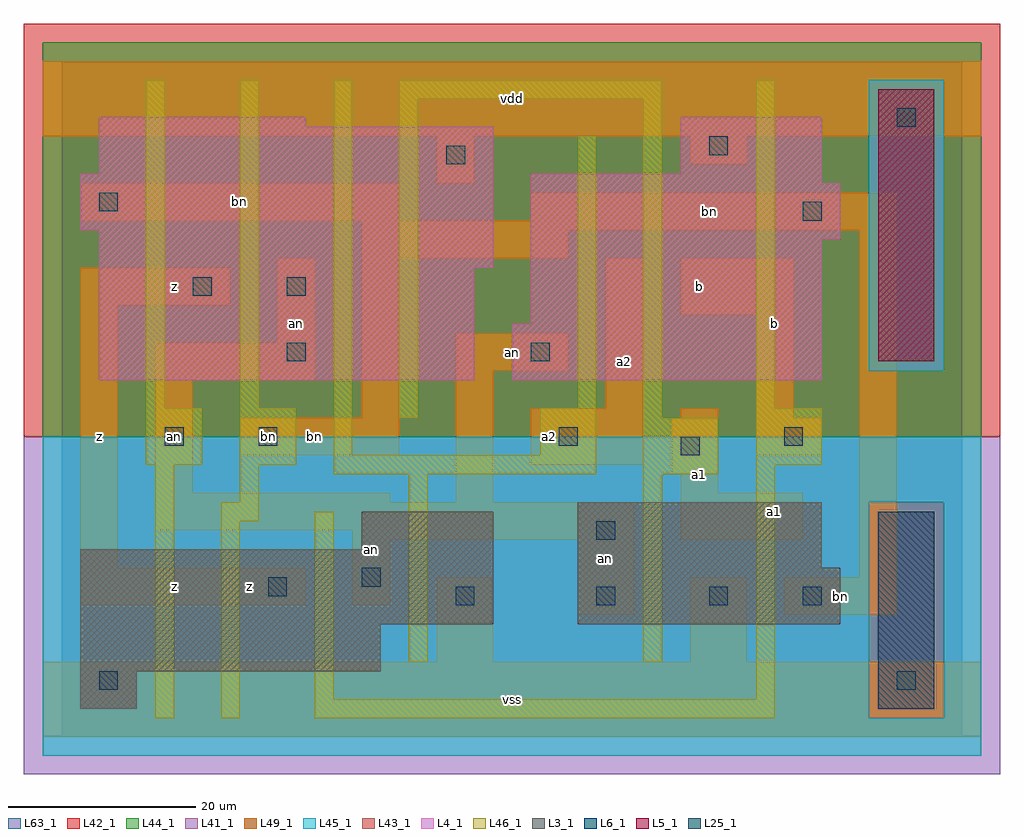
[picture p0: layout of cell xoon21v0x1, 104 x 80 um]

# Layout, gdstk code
import gdstk
lib = gdstk.Library(unit=1e-6, precision=1e-09)
def R(c, l, rs):  # rectangles x0, y0, x1, y1
    for r in rs: c.add(gdstk.rectangle(r[:2], r[2:], *l))
L3_1 = (3, 1)
L4_1 = (4, 1)
L5_1 = (5, 1)
L6_1 = (6, 1)
L25_1 = (25, 1)
L41_1 = (41, 1)
L42_1 = (42, 1)
L43_1 = (43, 1)
L44_1 = (44, 1)
L45_1 = (45, 1)
L46_1 = (46, 1)
L49_1 = (49, 1)
L63_1 = (63, 1)

xoon21v0x1 = lib.new_cell('xoon21v0x1')
R(xoon21v0x1, L3_1, [(2,3,8,7), (2,7,34,12), (2,12,46,20), (55,12,83,18), (55,18,81,25), (32,20,46,24)])
R(xoon21v0x1, L4_1, [(4,38,44,50), (48,38,81,44), (50,44,81,53), (4,50,46,54), (50,53,83,59), (2,54,46,60), (50,59,81,60), (4,60,46,65), (66,60,81,66), (4,65,26,66)])
R(xoon21v0x1, L5_1, [(87,40,93,69)])
R(xoon21v0x1, L6_1, [(87,3,93,24), (87,3,93,24)])
R(xoon21v0x1, L25_1, [(4,5,6,7), (89,5,91,7), (42,14,44,16), (57,14,59,16), (69,14,71,16), (79,14,81,16), (22,15,24,17), (32,16,34,18), (57,21,59,23), (66,30,68,32), (11,31,13,33), (21,31,23,33), (53,31,55,33), (77,31,79,33), (24,40,26,42), (50,40,52,42), (14,47,16,49), (24,47,26,49), (79,55,81,57), (4,56,6,58), (41,61,43,63), (69,62,71,64), (89,65,91,67)])
R(xoon21v0x1, L41_1, [(-4,-4,100,32)])
R(xoon21v0x1, L42_1, [(-4,32,100,76)])
R(xoon21v0x1, L43_1, [(2,3,8,7), (87,3,93,24), (2,7,34,12), (2,12,46,20), (55,12,83,18), (55,18,81,25), (32,20,46,24), (4,38,44,50), (48,38,81,44), (87,40,93,69), (50,44,81,53), (4,50,46,54), (50,53,83,59), (2,54,46,60), (50,59,81,60), (4,60,46,65), (66,60,81,66), (4,65,26,66)])
R(xoon21v0x1, L44_1, [(86,2,94,25), (-2,32,98,39), (-2,39,86,70), (94,39,98,70), (-2,70,98,74)])
R(xoon21v0x1, L45_1, [(-2,-2,98,2), (-2,2,86,25), (94,2,98,25), (-2,25,98,32), (86,39,94,70)])
R(xoon21v0x1, L46_1, [(10,2,12,29), (17,2,19,23), (27,2,76,4), (27,4,29,24), (74,4,76,29), (37,8,39,28), (62,8,64,28), (17,23,21,25), (19,25,21,29), (29,28,57,30), (62,28,70,34), (9,29,15,35), (19,29,25,35), (74,29,81,35), (29,30,31,70), (51,30,57,35), (36,34,38,68), (62,34,64,68), (9,35,11,70), (19,35,21,70), (55,35,57,64), (74,35,76,70), (36,68,64,70)])
R(xoon21v0x1, L49_1, [(-2,0,98,8), (40,8,46,17), (67,8,73,17), (55,13,61,21), (77,13,89,17), (2,14,26,18), (31,14,35,21), (85,17,89,54), (2,18,6,46), (31,21,61,22), (66,21,79,26), (10,22,61,25), (10,25,35,26), (42,25,46,39), (10,26,14,38), (66,26,70,28), (65,28,70,34), (50,29,62,35), (19,30,36,34), (74,30,81,34), (32,34,36,51), (66,34,70,35), (74,34,78,45), (58,35,62,51), (10,38,27,42), (42,39,54,43), (23,42,27,51), (66,45,78,51), (2,46,18,50), (32,51,54,54), (32,54,89,55), (2,55,36,59), (50,55,89,58), (40,59,44,64), (67,61,73,64), (-2,64,98,72)])
R(xoon21v0x1, L63_1, [(0,0,96,72)])
xoon21v0x1.add(gdstk.Label('bn', (22,32), layer=49, texttype=1))
xoon21v0x1.add(gdstk.Label('an', (12,32), layer=49, texttype=1))
xoon21v0x1.add(gdstk.Label('z', (12,16), layer=49, texttype=1))
xoon21v0x1.add(gdstk.Label('z', (4,32), layer=49, texttype=1))
xoon21v0x1.add(gdstk.Label('an', (12,32), layer=49, texttype=1))
xoon21v0x1.add(gdstk.Label('z', (12,48), layer=49, texttype=1))
xoon21v0x1.add(gdstk.Label('an', (33,20), layer=49, texttype=1))
xoon21v0x1.add(gdstk.Label('z', (20,16), layer=49, texttype=1))
xoon21v0x1.add(gdstk.Label('bn', (27,32), layer=49, texttype=1))
xoon21v0x1.add(gdstk.Label('an', (25,44), layer=49, texttype=1))
xoon21v0x1.add(gdstk.Label('bn', (19,57), layer=49, texttype=1))
xoon21v0x1.add(gdstk.Label('vss', (48,4), layer=49, texttype=1))
xoon21v0x1.add(gdstk.Label('a2', (52,32), layer=49, texttype=1))
xoon21v0x1.add(gdstk.Label('an', (48,41), layer=49, texttype=1))
xoon21v0x1.add(gdstk.Label('vdd', (48,68), layer=49, texttype=1))
xoon21v0x1.add(gdstk.Label('an', (58,19), layer=49, texttype=1))
xoon21v0x1.add(gdstk.Label('a1', (76,24), layer=49, texttype=1))
xoon21v0x1.add(gdstk.Label('a1', (68,28), layer=49, texttype=1))
xoon21v0x1.add(gdstk.Label('a2', (60,40), layer=49, texttype=1))
xoon21v0x1.add(gdstk.Label('b', (76,44), layer=49, texttype=1))
xoon21v0x1.add(gdstk.Label('b', (68,48), layer=49, texttype=1))
xoon21v0x1.add(gdstk.Label('bn', (83,15), layer=49, texttype=1))
xoon21v0x1.add(gdstk.Label('bn', (69,56), layer=49, texttype=1))

lib.write_gds('xoon21v0x1.gds')
